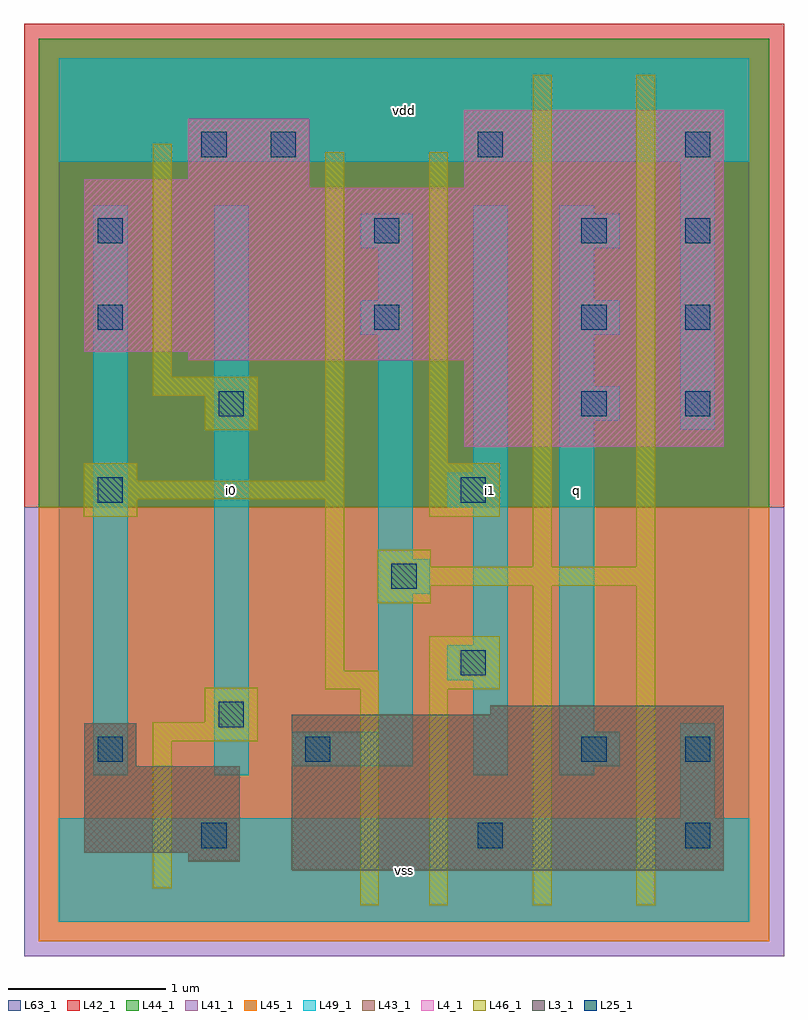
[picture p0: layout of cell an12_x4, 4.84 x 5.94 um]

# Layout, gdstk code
import gdstk
lib = gdstk.Library(unit=1e-6, precision=1e-09)
def R(c, l, rs):  # rectangles x0, y0, x1, y1
    for r in rs: c.add(gdstk.rectangle(r[:2], r[2:], *l))
def A(c, l, x, y, w, h, nx, ny, dx, dy):  # array of equal rectangles
    R(c, l, [(x+i*dx, y+j*dy, x+i*dx+w, y+j*dy+h) for i in range(nx) for j in range(ny)])
L3_1 = (3, 1)
L4_1 = (4, 1)
L25_1 = (25, 1)
L41_1 = (41, 1)
L42_1 = (42, 1)
L43_1 = (43, 1)
L44_1 = (44, 1)
L45_1 = (45, 1)
L46_1 = (46, 1)
L49_1 = (49, 1)
L63_1 = (63, 1)

an12_x4 = lib.new_cell('an12_x4')
R(an12_x4, L3_1, [(1.485,0.33,4.235,1.32), (0.825,0.385,1.155,0.44), (0.165,0.44,1.155,0.99), (0.165,0.99,0.495,1.265), (2.75,1.32,4.235,1.375)])
R(an12_x4, L4_1, [(2.585,3.025,4.235,3.575), (0.825,3.575,4.235,3.63), (0.165,3.63,4.235,4.675), (0.165,4.675,1.595,4.73), (2.585,4.675,4.235,5.17), (0.825,4.73,1.595,5.115)])
A(an12_x4, L25_1, 3.33, 3.22, 0.16, 0.16, 1, 3, 0, 0.55)
A(an12_x4, L25_1, 3.99, 3.22, 0.16, 0.16, 1, 3, 0, 0.55)
A(an12_x4, L25_1, 1.35, 4.87, 0.16, 0.16, 3, 1, 1.32, 0)
R(an12_x4, L25_1, [(0.91,0.47,1.07,0.63), (2.67,0.47,2.83,0.63), (3.99,0.47,4.15,0.63), (0.25,1.02,0.41,1.18), (1.57,1.02,1.73,1.18), (3.33,1.02,3.49,1.18), (3.99,1.02,4.15,1.18), (1.02,1.24,1.18,1.4), (2.56,1.57,2.72,1.73), (2.12,2.12,2.28,2.28), (0.25,2.67,0.41,2.83), (2.56,2.67,2.72,2.83), (1.02,3.22,1.18,3.38), (0.25,3.77,0.41,3.93), (2.01,3.77,2.17,3.93), (0.25,4.32,0.41,4.48), (2.01,4.32,2.17,4.48), (0.91,4.87,1.07,5.03)])
R(an12_x4, L41_1, [(-0.22,-0.22,4.62,2.64)])
R(an12_x4, L42_1, [(-0.22,2.64,4.62,5.72)])
R(an12_x4, L43_1, [(1.485,0.33,4.235,1.32), (0.825,0.385,1.155,0.44), (0.165,0.44,1.155,0.99), (0.165,0.99,0.495,1.265), (2.75,1.32,4.235,1.375), (2.585,3.025,4.235,3.575), (0.825,3.575,4.235,3.63), (0.165,3.63,4.235,4.675), (0.165,4.675,1.595,4.73), (2.585,4.675,4.235,5.17), (0.825,4.73,1.595,5.115)])
R(an12_x4, L44_1, [(-0.125,2.64,4.525,5.625)])
R(an12_x4, L45_1, [(-0.125,-0.125,4.525,2.64)])
R(an12_x4, L46_1, [(1.92,0.105,2.04,1.48), (2.36,0.105,2.48,1.48), (3.02,0.105,3.14,2.14), (3.68,0.105,3.8,2.14), (0.6,0.215,0.72,1.15), (0.6,1.15,1.27,1.27), (0.93,1.27,1.27,1.49), (1.7,1.48,2.04,1.6), (2.36,1.48,2.81,1.82), (1.7,1.6,1.82,2.69), (2.03,2.03,2.37,2.14), (2.03,2.14,3.8,2.26), (2.03,2.26,2.37,2.37), (3.02,2.26,3.14,5.395), (3.68,2.26,3.8,5.395), (0.16,2.58,0.5,2.69), (2.36,2.58,2.81,2.92), (0.16,2.69,1.82,2.81), (0.16,2.81,0.5,2.92), (1.7,2.81,1.82,4.9), (2.36,2.92,2.48,4.9), (0.93,3.13,1.27,3.35), (0.6,3.35,1.27,3.47), (0.6,3.47,0.72,4.955)])
A(an12_x4, L49_1, 3.19, 3.19, 0.385, 0.22, 1, 3, 0, 0.55)
R(an12_x4, L49_1, [(0,0,4.4,0.66), (3.96,0.66,4.18,1.265), (0.22,0.935,0.44,4.565), (0.99,0.935,1.21,4.565), (2.64,0.935,2.86,1.54), (3.19,0.935,3.41,0.99), (1.485,0.99,2.255,1.21), (3.19,0.99,3.575,1.21), (2.035,1.21,2.255,2.09), (3.19,1.21,3.41,3.19), (2.475,1.54,2.86,1.76), (2.64,1.76,2.86,2.64), (2.035,2.09,2.365,2.31), (2.035,2.31,2.255,3.74), (2.475,2.64,2.86,2.86), (2.64,2.86,2.86,4.565), (3.96,3.135,4.18,4.84), (3.19,3.41,3.41,3.74), (1.925,3.74,2.255,3.96), (2.035,3.96,2.255,4.29), (3.19,3.96,3.41,4.29), (1.925,4.29,2.255,4.51), (3.19,4.51,3.41,4.565), (0,4.84,4.4,5.5)])
R(an12_x4, L63_1, [(0,0,4.4,5.5)])
an12_x4.add(gdstk.Label('i0', (1.1,2.75), layer=49, texttype=1))
an12_x4.add(gdstk.Label('vss', (2.2,0.33), layer=49, texttype=1))
an12_x4.add(gdstk.Label('i1', (2.75,2.75), layer=49, texttype=1))
an12_x4.add(gdstk.Label('vdd', (2.2,5.17), layer=49, texttype=1))
an12_x4.add(gdstk.Label('q', (3.3,2.75), layer=49, texttype=1))

lib.write_gds('an12_x4.gds')
